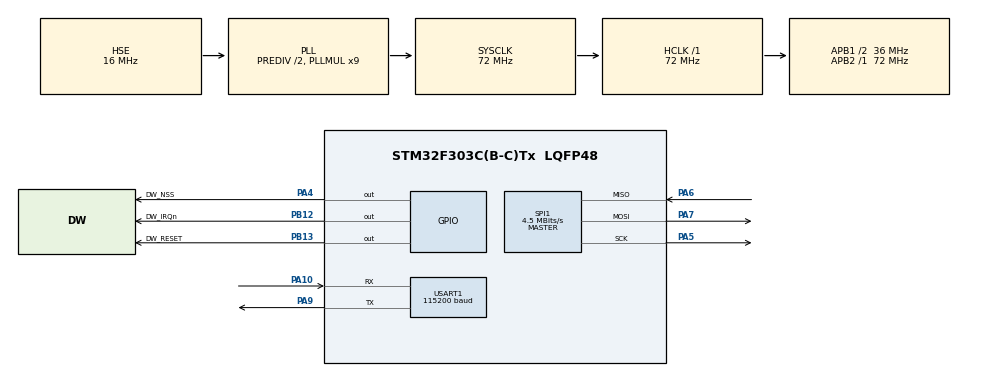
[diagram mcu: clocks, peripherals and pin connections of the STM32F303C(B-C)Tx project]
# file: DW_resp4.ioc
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Dma.Request0=USART1_TX
Dma.USART1_TX.0.Direction=DMA_MEMORY_TO_PERIPH
Dma.USART1_TX.0.Instance=DMA1_Channel4
Dma.USART1_TX.0.MemDataAlignment=DMA_MDATAALIGN_BYTE
Dma.USART1_TX.0.MemInc=DMA_MINC_ENABLE
Dma.USART1_TX.0.Mode=DMA_NORMAL
Dma.USART1_TX.0.PeriphDataAlignment=DMA_PDATAALIGN_BYTE
Dma.USART1_TX.0.PeriphInc=DMA_PINC_DISABLE
Dma.USART1_TX.0.Priority=DMA_PRIORITY_LOW
Mcu.Family=STM32F3
Mcu.Name=STM32F303C(B-C)Tx
Mcu.Package=LQFP48
NVIC.DMA1_Channel4_IRQn=true\:0\:0\:false\:false\:true\:false\:true\:true
NVIC.PriorityGroup=NVIC_PRIORITYGROUP_4
NVIC.USART1_IRQn=true\:0\:0\:false\:false\:true\:true\:true\:true
PA10.Mode=Asynchronous
PA10.Signal=USART1_RX
PA13.Mode=Serial_Wire
PA13.Signal=SYS_JTMS-SWDIO
PA14.Mode=Serial_Wire
PA14.Signal=SYS_JTCK-SWCLK
PA4.GPIO_Label=DW_NSS
PA4.Signal=GPIO_Output
PA5.Mode=Full_Duplex_Master
PA5.Signal=SPI1_SCK
PA6.Mode=Full_Duplex_Master
PA6.Signal=SPI1_MISO
PA7.Mode=Full_Duplex_Master
PA7.Signal=SPI1_MOSI
PA9.Mode=Asynchronous
PA9.Signal=USART1_TX
PB12.GPIO_Label=DW_IRQn
PB12.Signal=GPIO_Output
PB13.GPIO_Label=DW_RESET
PB13.Signal=GPIO_Output
PF0-OSC_IN.Mode=HSE-External-Oscillator
PF0-OSC_IN.Signal=RCC_OSC_IN
PF1-OSC_OUT.Mode=HSE-External-Oscillator
PF1-OSC_OUT.Signal=RCC_OSC_OUT
ProjectManager.HeapSize=0x200
ProjectManager.StackSize=0x400
ProjectManager.TargetToolchain=Makefile
RCC.AHBFreq_Value=72000000
RCC.APB1CLKDivider=RCC_HCLK_DIV2
RCC.APB1Freq_Value=36000000
RCC.APB1TimFreq_Value=72000000
RCC.APB2Freq_Value=72000000
RCC.APB2TimFreq_Value=72000000
RCC.CortexFreq_Value=72000000
RCC.HCLKFreq_Value=72000000
RCC.HSE_VALUE=16000000
RCC.HSI_VALUE=8000000
RCC.LSE_VALUE=32768
RCC.PLLMUL=RCC_PLL_MUL9
RCC.PLLSourceVirtual=RCC_PLLSOURCE_HSE
RCC.RCC_PLLsource_Clock_Source_FROM_HSE=RCC_HSE_PREDIV_DIV2
RCC.SYSCLKFreq_VALUE=72000000
RCC.SYSCLKSourceVirtual=RCC_SYSCLKSOURCE_PLLCLK
RCC.USBFreq_Value=72000000
SPI1.BaudRatePrescaler=SPI_BAUDRATEPRESCALER_16
SPI1.CalculateBaudRate=4.5 MBits/s
SPI1.DataSize=SPI_DATASIZE_8BIT
SPI1.Direction=SPI_DIRECTION_2LINES
SPI1.Mode=SPI_MODE_MASTER
SPI1.VirtualType=VM_MASTER
TIM2.Period=65535
TIM2.Prescaler=71
USART1.BaudRate=115200
USART1.Mode=MODE_TX
USART1.VirtualMode-Asynchronous=VM_ASYNC
VP_TIM2_VS_ClockSourceINT.Mode=Internal
board=custom

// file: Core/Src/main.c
/* USER CODE BEGIN Header */
/**
  ******************************************************************************
  * @file           : main.c
  * @brief          : Main program body
  ******************************************************************************
  * @attention
  *
  * Copyright (c) 2025 STMicroelectronics.
  * All rights reserved.
  *
  * This software is licensed under terms that can be found in the LICENSE file
  * in the root directory of this software component.
  * If no LICENSE file comes with this software, it is provided AS-IS.
  *
  ******************************************************************************
  */
/* USER CODE END Header */
#include "main.h"
#include "dma.h"
#include "spi.h"
#include "tim.h"
#include "usart.h"
#include "gpio.h"

/* USER CODE BEGIN Includes */
#include "examples_defines.h"
#include "port.h"
#include "string.h"
#include "shared_defines.h"
/* USER CODE END Includes */

/* USER CODE BEGIN PV */
extern example_ptr example_pointer;

#define TX_PACKET_SIZE (1 + 7 * sizeof(float))  // 1 header + 7 floats = 29 bytes

static uint8_t uart_tx_packet[TX_PACKET_SIZE];
volatile uint8_t uart_tx_ready = 1;  // Flag to track DMA completion

/* USER CODE END PV */

void SystemClock_Config(void);

int main(void)
{

  /* USER CODE BEGIN 1 */
  build_examples();

  /* USER CODE END 1 */

  /* MCU Configuration--------------------------------------------------------*/

  /* Reset of all peripherals, Initializes the Flash interface and the Systick. */
  HAL_Init();

  /* Configure the system clock */
  SystemClock_Config();

  /* Initialize all configured peripherals */
  MX_GPIO_Init();
  MX_DMA_Init();
  MX_USART1_UART_Init();
  MX_SPI1_Init();
  MX_TIM2_Init();
  /* USER CODE BEGIN 2 */
  HAL_TIM_Base_Start(&htim2);

  port_DisableEXT_IRQ();
  example_pointer();
  /* USER CODE END 2 */

  /* Infinite loop */
  while (1)
  {

  }
}

void SystemClock_Config(void)
{
  RCC_OscInitTypeDef RCC_OscInitStruct = {0};
  RCC_ClkInitTypeDef RCC_ClkInitStruct = {0};
  RCC_PeriphCLKInitTypeDef PeriphClkInit = {0};

  /** Initializes the RCC Oscillators according to the specified parameters
  * in the RCC_OscInitTypeDef structure.
  */
  RCC_OscInitStruct.OscillatorType = RCC_OSCILLATORTYPE_HSE;
  RCC_OscInitStruct.HSEState = RCC_HSE_ON;
  RCC_OscInitStruct.HSEPredivValue = RCC_HSE_PREDIV_DIV2;
  RCC_OscInitStruct.HSIState = RCC_HSI_ON;
  RCC_OscInitStruct.PLL.PLLState = RCC_PLL_ON;
  RCC_OscInitStruct.PLL.PLLSource = RCC_PLLSOURCE_HSE;
  RCC_OscInitStruct.PLL.PLLMUL = RCC_PLL_MUL9;
  if (HAL_RCC_OscConfig(&RCC_OscInitStruct) != HAL_OK)
  {
    Error_Handler();
  }

  /** Initializes the CPU, AHB and APB buses clocks
  */
  RCC_ClkInitStruct.ClockType = RCC_CLOCKTYPE_HCLK|RCC_CLOCKTYPE_SYSCLK
                              |RCC_CLOCKTYPE_PCLK1|RCC_CLOCKTYPE_PCLK2;
  RCC_ClkInitStruct.SYSCLKSource = RCC_SYSCLKSOURCE_PLLCLK;
  RCC_ClkInitStruct.AHBCLKDivider = RCC_SYSCLK_DIV1;
  RCC_ClkInitStruct.APB1CLKDivider = RCC_HCLK_DIV2;
  RCC_ClkInitStruct.APB2CLKDivider = RCC_HCLK_DIV1;

  if (HAL_RCC_ClockConfig(&RCC_ClkInitStruct, FLASH_LATENCY_2) != HAL_OK)
  {
    Error_Handler();
  }
  PeriphClkInit.PeriphClockSelection = RCC_PERIPHCLK_USART1;
  PeriphClkInit.Usart1ClockSelection = RCC_USART1CLKSOURCE_PCLK2;
  if (HAL_RCCEx_PeriphCLKConfig(&PeriphClkInit) != HAL_OK)
  {
    Error_Handler();
  }
}

/* USER CODE BEGIN 4 */

void HAL_UART_TxCpltCallback(UART_HandleTypeDef *huart)
{
    if (huart->Instance == USART1)
    {
        uart_tx_ready = 1;  // Mark TX done
    }
}

void Send_Distance_Over_UART(double tof, int_fast32_t *received_floats)
{
    if (!uart_tx_ready) return;  // Prevent collision if previous transfer not done

    uart_tx_ready = 0;  // Clear flag

    float distance = (float)(tof * SPEED_OF_LIGHT);
    uart_tx_packet[0] = 0xAA;

    memcpy(&uart_tx_packet[1], &distance, sizeof(float));
    memcpy(&uart_tx_packet[1 + sizeof(float)], received_floats, 6 * sizeof(int32_t));

    HAL_UART_Transmit_DMA(&huart1, uart_tx_packet, TX_PACKET_SIZE);
}

/* USER CODE END 4 */

void Error_Handler(void)
{
  __disable_irq();
  while (1)
  {
  }
}
